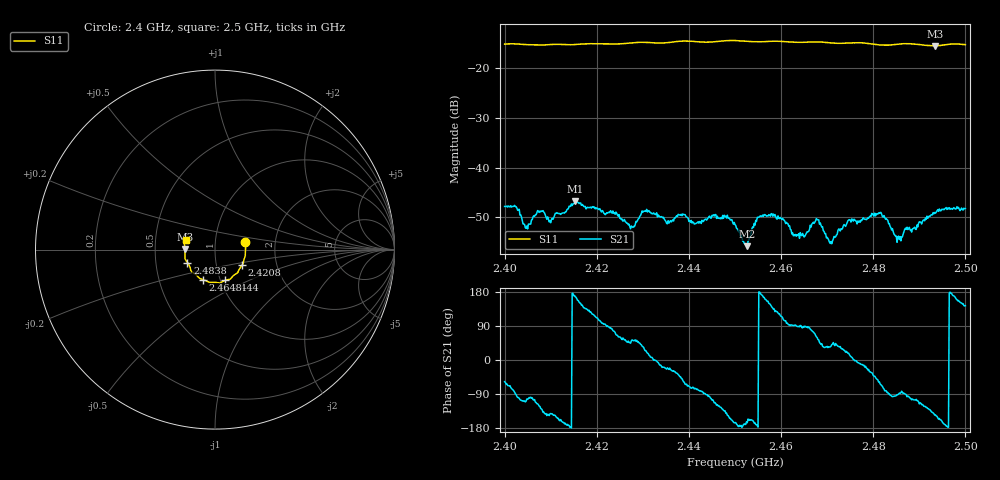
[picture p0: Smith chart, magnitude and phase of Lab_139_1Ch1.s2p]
# Hz S RI R
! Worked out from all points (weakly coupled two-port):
!   601 points, 2.4 GHz to 2.5 GHz, reference 50 ohm
!   highest |S21| = -46.80 dB at 2.4153 GHz (marker M1); lowest = -55.8 dB at 2.4527 GHz (marker M2)
!   lowest |S11| = -15.6 dB at 2.4935 GHz (marker M3), VSWR 1.40, Z = 35.8 + j0.211 ohm
!   |S11| at or under -10 dB: start of sweep to end of sweep
!   S12 and S22 are empty: the file has one direction only
!   S11 on the Smith chart (normalised r, x): 2.4 GHz: 1.40, +0.12; 2.4208 GHz: 1.33, -0.24; 2.444 GHz: 1.06, -0.37; 2.4648 GHz: 0.83, -0.29; 2.4838 GHz: 0.73, -0.11; 2.5 GHz: 0.72, +0.08
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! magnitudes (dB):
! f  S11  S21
! 2.4 GHz  -15.3  -47.8
! 2.4048 GHz  -15.4  -51.7
! 2.4153 GHz  -15.3  -46.8
! 2.4167 GHz  -15.2  -47.6
! 2.4208 GHz  -15.2  -48.6
! 2.4277 GHz  -15.0  -51.9
! 2.4303 GHz  -14.9  -48.8
! 2.4333 GHz  -15.0  -49.5
! 2.444 GHz  -14.9  -50.3
! 2.45 GHz  -14.5  -51.4
! 2.4527 GHz  -14.7  -55.8
! 2.456 GHz  -14.8  -49.5
! 2.4648 GHz  -14.9  -53.6
! 2.4667 GHz  -14.8  -51.3
! 2.4682 GHz  -14.8  -50.5
! 2.4708 GHz  -15.0  -54.8
! 2.475 GHz  -15.0  -50.5
! 2.4833 GHz  -15.5  -51.2
! 2.4838 GHz  -15.4  -52.0
! 2.4857 GHz  -15.2  -54.4
! 2.4935 GHz  -15.6  -49.1
! 2.5 GHz  -15.4  -48.2
